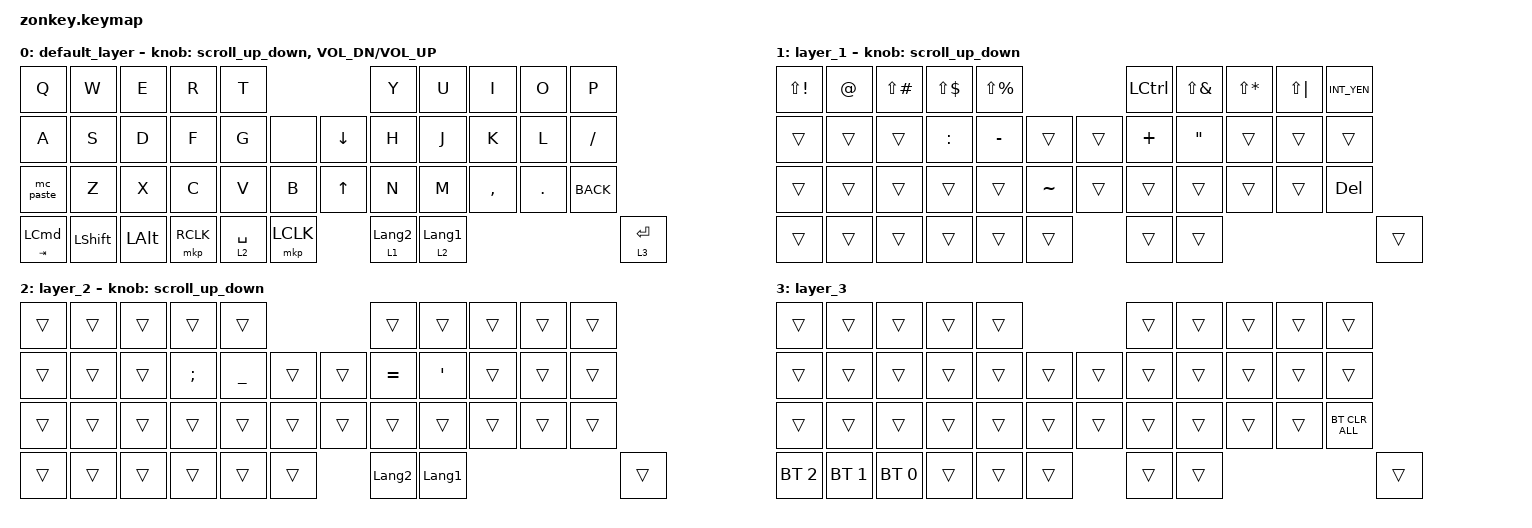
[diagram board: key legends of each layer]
#include <behaviors.dtsi>
#include <dt-bindings/zmk/bt.h>
#include <dt-bindings/zmk/keys.h>
#include <dt-bindings/zmk/pointing.h>

#define ZMK_POINTING_DEFAULT_SCRL_VAL 100
#define MOUSE 6
#define JP_DQUOTE       AT                // "
#define JP_AMPERSAND    CARET             // &
#define JP_QUOTE        AMPERSAND         // '
#define JP_EQUAL        UNDER             // =
#define JP_CARET        EQUAL             // ^
#define JP_YEN          0x89              // ¥
#define JP_PLUS         COLON             // +
#define JP_TILDE        PLUS              // ~
#define JP_PIPE         LS(0x89)          // |
#define JP_AT           LEFT_BRACKET      // @
#define JP_COLON        SINGLE_QUOTE      // :
#define JP_ASTERISK     DOUBLE_QUOTES     // *
#define JP_BACKQUOTE    LEFT_BRACE        // `
#define JP_UNDERSCORE   LS(0x87)          // _
#define JP_LBRACKET     RIGHT_BRACKET     // [
#define JP_RBRACKET     BACKSLASH         // ]
#define JP_LPAREN       ASTERISK          // (
#define JP_RPAREN       LEFT_PARENTHESIS  // )
#define JP_LBRACE       RIGHT_BRACE       // {
#define JP_RBRACE       PIPE              // }
#define JP_KANA         LANGUAGE_1        // かな
#define JP_EISU         LANGUAGE_2        // 英数
#define JP_HANZEN       GRAVE             // 半角/全角
#define JP_BSLH  INT1         // (backslash)

&mt {
    flavor = "balanced";
    quick-tap-ms = <0>;
};

/ {
    combos {
        compatible = "zmk,combos";

        maru1 {
            bindings = <&kp LEFT_PARENTHESIS>;
            key-positions = <5 6>;
        };

        maru2 {
            bindings = <&kp RIGHT_PARENTHESIS>;
            key-positions = <6 7>;
        };

        kagi1 {
            bindings = <&kp LEFT_BRACKET>;
            key-positions = <17 18>;
        };

        kagi2 {
            bindings = <&kp RIGHT_BRACKET>;
            key-positions = <18 19>;
        };

        kado1 {
            bindings = <&kp LESS_THAN>;
            key-positions = <16 29>;
        };

        kado2 {
            bindings = <&kp GREATER_THAN>;
            key-positions = <29 30>;
        };

        esc {
            bindings = <&kp ESCAPE>;
            key-positions = <13 12>;
        };

        tab {
            bindings = <&kp TAB>;
            key-positions = <14 13>;
        };
    };

    mo2: mo2 {
        compatible = "zmk,behavior-mod-morph";
        #binding-cells = <0>;
        bindings = <&kp N2>, <&kp AT>;

        mods = <(MOD_LSFT|MOD_RSFT)>;
    };

    mo6: mo6 {
        compatible = "zmk,behavior-mod-morph";
        #binding-cells = <0>;
        bindings = <&kp N6>, <&kp CARET>;

        mods = <(MOD_LSFT|MOD_RSFT)>;
    };

    mo7: mo7 {
        compatible = "zmk,behavior-mod-morph";
        #binding-cells = <0>;
        bindings = <&kp N7>, <&kp AMPS>;

        mods = <(MOD_LSFT|MOD_RSFT)>;
    };

    mo8: mo8 {
        compatible = "zmk,behavior-mod-morph";
        #binding-cells = <0>;
        bindings = <&kp N8>, <&kp ASTRK>;

        mods = <(MOD_LSFT|MOD_RSFT)>;
    };

    mo9: mo9 {
        compatible = "zmk,behavior-mod-morph";
        #binding-cells = <0>;
        bindings = <&kp N9>, <&kp LPAR>;

        mods = <(MOD_LSFT|MOD_RSFT)>;
    };

    mo0: mo0 {
        compatible = "zmk,behavior-mod-morph";
        #binding-cells = <0>;
        bindings = <&kp N0>, <&kp LS(N9)>;

        mods = <(MOD_LSFT|MOD_RSFT)>;
    };

    moA: moA {
        compatible = "zmk,behavior-mod-morph";
        #binding-cells = <0>;
        bindings = <&kp MINUS>, <&kp UNDERSCORE>;

        mods = <(MOD_LSFT|MOD_RSFT)>;
    };

    moB: moB {
        compatible = "zmk,behavior-mod-morph";
        #binding-cells = <0>;
        bindings = <&kp EQUAL>, <&kp PLUS>;

        mods = <(MOD_LSFT|MOD_RSFT)>;
    };

    moC: moC {
        compatible = "zmk,behavior-mod-morph";
        #binding-cells = <0>;
        bindings = <&kp INT3>, <&kp JP_PIPE>;

        mods = <(MOD_LSFT|MOD_RSFT)>;
    };

    moD: moD {
        compatible = "zmk,behavior-mod-morph";
        #binding-cells = <0>;
        bindings = <&kp LBKT>, <&kp LBRC>;

        mods = <(MOD_LSFT|MOD_RSFT)>;
    };

    moE: moE {
        compatible = "zmk,behavior-mod-morph";
        #binding-cells = <0>;
        bindings = <&kp RBKT>, <&kp RBRC>;

        mods = <(MOD_LSFT|MOD_RSFT)>;
    };

    moF: moF {
        compatible = "zmk,behavior-mod-morph";
        #binding-cells = <0>;
        bindings = <&kp SEMI>, <&kp KP_PLUS>;

        mods = <(MOD_LSFT|MOD_RSFT)>;
    };

    moG: moG {
        compatible = "zmk,behavior-mod-morph";
        #binding-cells = <0>;
        bindings = <&kp APOSTROPHE>, <&kp DQT>;

        mods = <(MOD_LSFT|MOD_RSFT)>;
    };

    moH: moH {
        compatible = "zmk,behavior-mod-morph";
        #binding-cells = <0>;
        bindings = <&kp BACKSLASH>, <&kp TILDE2>;

        mods = <(MOD_LSFT|MOD_RSFT)>;
    };

    moI: moI {
        compatible = "zmk,behavior-mod-morph";
        #binding-cells = <0>;
        bindings = <&kp JP_BSLH>, <&kp JP_UNDERSCORE>;

        mods = <(MOD_LSFT|MOD_RSFT)>;
    };

    macros {
        to_layer_0: to_layer_0 {
            compatible = "zmk,behavior-macro-one-param";
            #binding-cells = <1>;
            bindings = <&to 0 &macro_param_1to1 &kp MACRO_PLACEHOLDER>;
            label = "TO_LAYER_0";
        };
    };

    behaviors {
        lt_to_layer_0: lt_to_layer_0 {
            compatible = "zmk,behavior-hold-tap";
            label = "LAYER_TAP_TO_0";
            bindings = <&mo>, <&to_layer_0>;

            #binding-cells = <2>;
            tapping-term-ms = <200>;
        };

        scroll_up_down: behavior_sensor_rotate_mouse_wheel_up_down {
            compatible = "zmk,behavior-sensor-rotate";
            #sensor-binding-cells = <0>;
            bindings = <&msc SCRL_DOWN>, <&msc SCRL_UP>;

            tap-ms = <20>;
        };

        mc_paste: mc_paste {
            compatible = "zmk,behavior-tap-dance";
            label = "MC_PASTE";
            #binding-cells = <0>;
            bindings = <&kp LC(UP_ARROW)>, <&kp LG(LS(V))>;
        };
    };

    keymap {
        compatible = "zmk,keymap";

        default_layer {
            // -----------------------------------------------------------------------------------------
            // |  Q  |  W  |  E  |  R  |  T  |                        |  Y  |  U   |  I  |  O  |  P  | 
            // |  A  |  S  |  D  |  F  |  G  |LS(LG(S))|        　 | - |  H  |  J   |  K  |  L  |  `  | 
            // |SHIFT|  Z  |  X  |  C  |  V  |  B  |           | B |  N  |  M   |  ,  |  .  |  /  | 
            // | CTRL | WIN | ALT |HENKAN|SPACE|MUHENKAN|       | BS | ENT |      　　　　       | DEL |           

            bindings = <
&kp Q                 &kp W           &kp E         &kp R      &kp T                                   &kp Y             &kp U             &kp I      &kp O    &kp P
&kp A                 &kp S           &kp D         &kp F      &kp G        &none        &kp DOWN      &kp H             &kp J             &kp K      &kp L    &kp FSLH
&mc_paste             &kp Z           &kp X         &kp C      &kp V        &kp B        &kp UP_ARROW  &kp N             &kp M             &kp COMMA  &kp DOT  &kp K_BACK
&mt TAB LEFT_COMMAND  &kp LEFT_SHIFT  &kp LEFT_ALT  &mkp RCLK  &lt 2 SPACE  &mkp LCLK                  &lt 1 LANGUAGE_2  &lt 2 LANGUAGE_1                                  &lt 3 ENTER
            >;

            sensor-bindings =
                <&scroll_up_down>,
                <&inc_dec_kp C_VOL_DN C_VOL_UP>;
        };

        layer_1 {
            // -----------------------------------------------------------------------------------------
            // |CAPS　| 　　|     |     |                    　　　　　　 |     |     |  -  |  ^  |  ¥  |
            // | TAB |     |     |     |     |     |              |    |     |     |     |  @  |  [  |
            // |SHIFT|     |     |     |     |     |           　 | 英数 | かな |    |  ; |  :  |  ]  |
            // | CTRL| WIN | ALT |HENKAN|SPACE|MUHENKAN|         | BS | ENT |                   | DEL |

            bindings = <
&kp LS(EXCL)  &kp AT  &kp LS(POUND)  &kp LS(DLLR)  &kp LS(PRCNT)                       &kp LCTRL  &kp LS(AMPS)       &kp LS(STAR)  &kp LS(PIPE)  &kp INT_YEN
&trans        &trans  &trans         &kp COLON     &kp MINUS      &trans       &trans  &kp PLUS   &kp DOUBLE_QUOTES  &trans        &trans        &trans
&trans        &trans  &trans         &trans        &trans         &kp TILDE    &trans  &trans     &trans             &trans        &trans        &kp DELETE
&trans        &trans  &trans         &trans        &trans         &trans               &trans     &trans                                                      &trans
            >;

            sensor-bindings = <&scroll_up_down>;
        };

        layer_2 {
            bindings = <
&trans  &trans  &trans  &trans         &trans                            &trans          &trans          &trans  &trans  &trans
&trans  &trans  &trans  &kp SEMICOLON  &kp UNDERSCORE  &trans    &trans  &kp EQUAL       &kp SQT         &trans  &trans  &trans
&trans  &trans  &trans  &trans         &trans          &trans    &trans  &trans          &trans          &trans  &trans  &trans
&trans  &trans  &trans  &trans         &trans          &trans            &kp LANGUAGE_2  &kp LANGUAGE_1                          &trans
            >;

            sensor-bindings = <&scroll_up_down>;
        };

        layer_3 {
            bindings = <
&trans        &trans        &trans        &trans  &trans                    &trans  &trans  &trans  &trans  &trans
&trans        &trans        &trans        &trans  &trans  &trans    &trans  &trans  &trans  &trans  &trans  &trans
&trans        &trans        &trans        &trans  &trans  &trans    &trans  &trans  &trans  &trans  &trans  &bt BT_CLR_ALL
&bt BT_SEL 2  &bt BT_SEL 1  &bt BT_SEL 0  &trans  &trans  &trans            &trans  &trans                                  &trans
            >;
        };
    };
};
